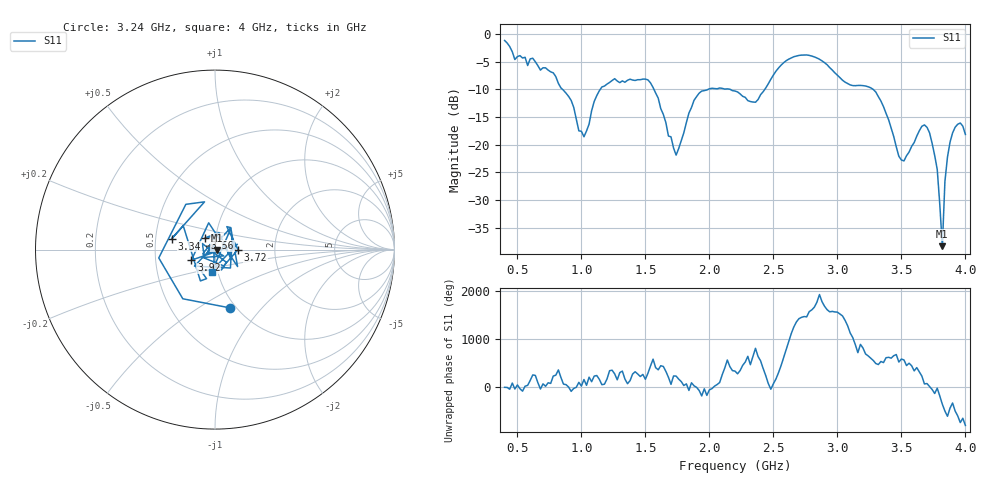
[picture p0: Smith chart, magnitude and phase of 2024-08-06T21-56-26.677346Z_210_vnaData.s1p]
!Created with skrf (http://scikit-rf.org).
# Hz S RI R 50.0
!freq ReS11 ImS11
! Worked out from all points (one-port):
!   181 points, 400 MHz to 4 GHz, reference 50 ohm
!   lowest |S11| = -38.4 dB at 3.82 GHz (marker M1), VSWR 1.02, Z = 51.2 - j0.276 ohm
!   |S11| at or under -10 dB: 853.2 MHz to 1.147 GHz (293.6 MHz wide, 29.4 % of centre); 1.567 GHz to 1.989 GHz (421.6 MHz wide, 23.7 % of centre); 3.281 GHz to end of sweep (the widest 3 of 4)
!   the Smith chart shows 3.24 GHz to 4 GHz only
!   S11 on the Smith chart (normalised r, x): 3.24 GHz: 0.94, -0.68; 3.34 GHz: 0.61, +0.08; 3.56 GHz: 0.89, +0.12; 3.72 GHz: 1.29, -0.00; 3.92 GHz: 0.76, -0.09; 4 GHz: 0.94, -0.23
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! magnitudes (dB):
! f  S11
! 400 MHz  -1.1
! 480 MHz  -4.6
! 620 MHz  -4.4
! 860 MHz  -10.1
! 1.02 GHz  -18.6
! 1.14 GHz  -10.2
! 1.3 GHz  -8.8
! 1.52 GHz  -8.3
! 1.74 GHz  -21.9
! 1.76 GHz  -20.7
! 1.92 GHz  -10.7
! 2.2 GHz  -10.3
! 2.36 GHz  -12.3
! 2.66 GHz  -4.1
! 2.86 GHz  -4.5
! 3.1 GHz  -9.2
! 3.24 GHz  -9.5
! 3.34 GHz  -12.1
! 3.48 GHz  -22.1
! 3.56 GHz  -21.3
! 3.66 GHz  -16.7
! 3.72 GHz  -17.8
! 3.78 GHz  -24.5
! 3.82 GHz  -38.4
! 3.84 GHz  -26.7
! 3.86 GHz  -22.2
! 3.92 GHz  -16.8
! 4 GHz  -18.1
